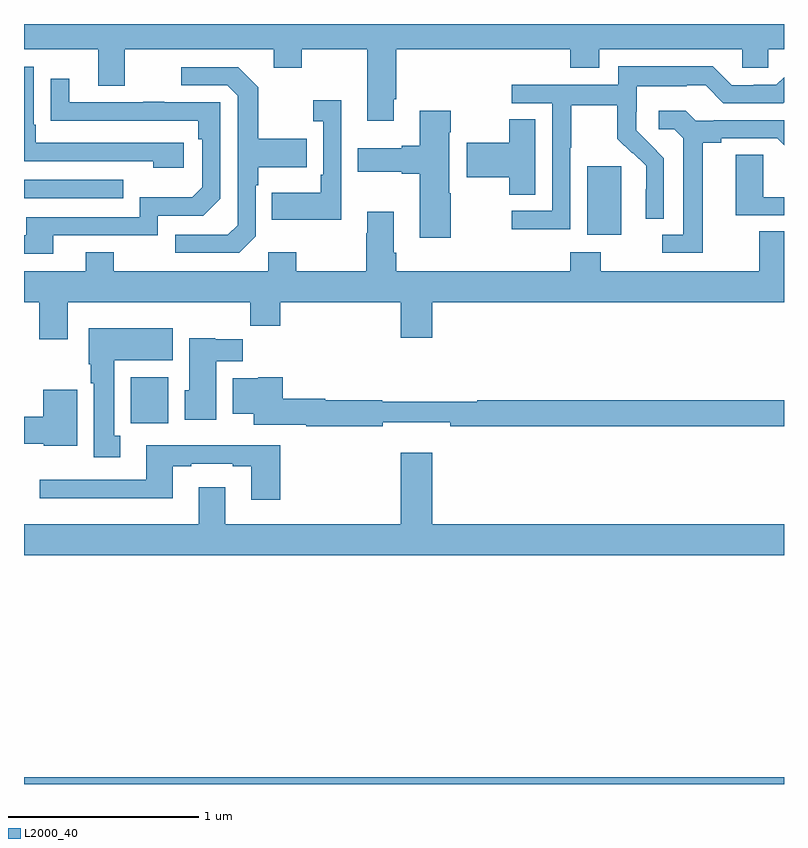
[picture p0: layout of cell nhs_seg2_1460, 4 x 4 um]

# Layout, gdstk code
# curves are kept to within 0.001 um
import gdstk
lib = gdstk.Library(unit=1e-6, precision=1e-09)
def R(c, l, rs):  # rectangles x0, y0, x1, y1
    for r in rs: c.add(gdstk.rectangle(r[:2], r[2:], *l))
def P(c, l, *ps):  # polygons
    for p in ps: c.add(gdstk.Polygon(p, *l))
L2000_40 = (2000, 40)

nhs_seg2_1460 = lib.new_cell('nhs_seg2_1460')
R(nhs_seg2_1460, L2000_40, [(187,611.8,191,611.836), (187.562,613.7,187.759,613.942), (189.965,614.69,190.144,615.051), (187,614.883,187.523,614.979)])
P(nhs_seg2_1460, L2000_40, [(188.947,615.403),(188.96,615.403),(188.96,615.668),(189.875,615.668),(189.875,615.569),(190.027,615.569),(190.027,615.668),(190.779,615.668),(190.779,615.57),(190.917,615.57),(190.917,615.668),(191,615.668),(191,615.8),(187,615.8),(187,615.668),(187.391,615.668),(187.391,615.474),(187.531,615.474),(187.531,615.668),(188.315,615.668),(188.315,615.569),(188.463,615.569),(188.463,615.668),(188.807,615.668),(188.807,615.291),(188.947,615.291)],
  [(189.876,615.148),(189.879,615.148),(189.879,615.372),(190.123,615.372),(190.123,615.197),(190.2,615.12),(190.203,615.123),(190.274,615.053),(190.274,614.93),(190.272,614.93),(190.272,614.776),(190.368,614.776),(190.368,615.094),(190.222,615.242),(190.222,615.339),(190.224,615.339),(190.224,615.473),(190.487,615.473),(190.487,615.477),(190.587,615.477),(190.68,615.384),(190.995,615.384),(191,615.389),(191,615.521),(190.959,615.48),(190.841,615.48),(190.841,615.477),(190.725,615.477),(190.625,615.577),(190.128,615.577),(190.128,615.48),(189.567,615.48),(189.567,615.384),(189.78,615.384),(189.78,614.817),(189.567,614.817),(189.567,614.719),(189.876,614.719)],
  [(187.84,615.174),(187.063,615.174),(187.063,615.271),(187.05,615.271),(187.05,615.576),(187,615.576),(187,615.078),(187.679,615.078),(187.679,615.044),(187.84,615.044)],
  [(188.22,614.682),(188.22,614.951),(188.233,614.951),(188.233,615.047),(188.489,615.047),(188.489,615.195),(188.233,615.195),(188.233,615.467),(188.127,615.573),(187.827,615.573),(187.827,615.477),(188.07,615.477),(188.124,615.423),(188.124,614.742),(188.073,614.691),(187.797,614.691),(187.797,614.595),(188.133,614.595)],
  [(187.153,614.688),(187.704,614.688),(187.704,614.79),(187.944,614.79),(188.034,614.88),(188.034,615.387),(187.739,615.387),(187.739,615.392),(187.627,615.392),(187.627,615.387),(187.237,615.387),(187.237,615.511),(187.141,615.511),(187.141,615.292),(187.918,615.291),(187.918,615.194),(187.938,615.194),(187.938,614.94),(187.885,614.887),(187.608,614.887),(187.608,614.784),(187.013,614.784),(187.013,614.688),(187,614.688),(187,614.592),(187.153,614.592)],
  [(188.67,615.4),(188.523,615.4),(188.523,615.287),(188.574,615.287),(188.574,615.007),(188.562,615.007),(188.562,614.911),(188.305,614.911),(188.305,614.771),(188.67,614.771)],
  [(190.573,615.176),(190.669,615.176),(190.669,615.198),(190.964,615.198),(191,615.162),(191,615.294),(190.63,615.294),(190.63,615.291),(190.536,615.291),(190.484,615.343),(190.341,615.343),(190.341,615.246),(190.422,615.246),(190.469,615.199),(190.469,614.691),(190.359,614.691),(190.359,614.595),(190.573,614.595)],
  [(189.246,614.909),(189.238,614.909),(189.238,615.23),(189.246,615.23),(189.246,615.343),(189.083,615.343),(189.083,615.158),(188.987,615.158),(188.987,615.145),(188.757,615.145),(188.757,615.023),(188.987,615.023),(188.987,615.011),(189.083,615.011),(189.083,614.676),(189.246,614.676)],
  [(189.691,615.299),(189.553,615.299),(189.553,615.176),(189.33,615.176),(189.33,614.993),(189.553,614.993),(189.553,614.902),(189.691,614.902)],
  [(191,614.889),(190.89,614.889),(190.89,615.113),(190.745,615.113),(190.745,614.793),(191,614.793)],
  [(188.286,614.5),(187.473,614.5),(187.473,614.599),(187.325,614.599),(187.325,614.5),(187,614.5),(187,614.336),(187.079,614.336),(187.079,614.142),(187.231,614.142),(187.231,614.336),(188.191,614.336),(188.191,614.212),(188.348,614.212),(188.348,614.336),(188.984,614.336),(188.984,614.148),(189.148,614.148),(189.148,614.336),(191,614.336),(191,614.708),(190.871,614.708),(190.871,614.5),(190.035,614.5),(190.035,614.599),(189.875,614.599),(189.875,614.5),(188.96,614.5),(188.96,614.596),(188.947,614.596),(188.947,614.812),(188.807,614.812),(188.807,614.699),(188.8,614.699),(188.8,614.5),(188.433,614.5),(188.433,614.599),(188.286,614.599)],
  [(187.507,613.634),(187.474,613.634),(187.474,614.03),(187.783,614.03),(187.783,614.2),(187.34,614.2),(187.34,614.01),(187.352,614.01),(187.352,613.91),(187.367,613.91),(187.367,613.521),(187.507,613.521)],
  [(188.011,614.024),(188.15,614.024),(188.15,614.142),(188.007,614.142),(188.007,614.146),(187.871,614.146),(187.871,613.872),(187.847,613.872),(187.847,613.718),(188.011,613.718)],
  [(188.888,613.703),(189.244,613.703),(189.244,613.684),(191,613.684),(191,613.82),(189.386,613.82),(189.386,613.813),(188.886,613.813),(188.886,613.82),(188.586,613.82),(188.586,613.828),(188.363,613.828),(188.363,613.942),(188.232,613.942),(188.232,613.936),(188.099,613.936),(188.099,613.748),(188.21,613.748),(188.21,613.691),(188.486,613.691),(188.486,613.684),(188.888,613.684)],
  [(187.279,613.876),(187.1,613.876),(187.1,613.733),(187,613.733),(187,613.591),(187.104,613.591),(187.104,613.58),(187.279,613.58)],
  [(188.348,613.582),(187.643,613.582),(187.643,613.401),(187.083,613.401),(187.083,613.304),(187.783,613.304),(187.783,613.473),(187.879,613.473),(187.879,613.485),(188.099,613.485),(188.099,613.473),(188.195,613.473),(188.195,613.296),(188.348,613.296)],
  [(191,613.168),(189.148,613.168),(189.148,613.543),(188.984,613.543),(188.984,613.168),(188.059,613.168),(188.059,613.363),(187.919,613.363),(187.919,613.168),(187,613.168),(187,613.004),(191,613.004)])

lib.write_gds('nhs_seg2_1460.gds')
